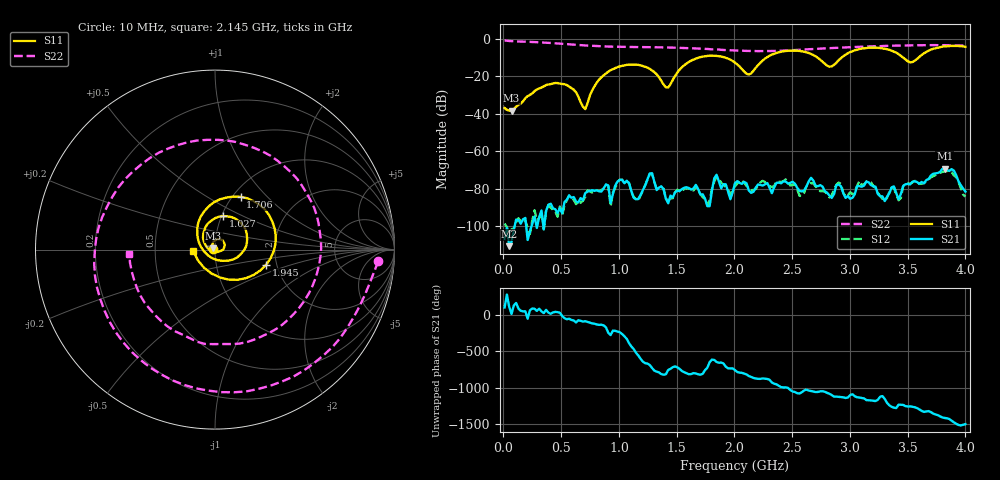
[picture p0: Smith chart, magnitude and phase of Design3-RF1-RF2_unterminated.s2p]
! 9/28/2016 12:32:43 PM
! C:\USERS\ANRITSUUSER\DESKTOP\SWITCHES\DESIGN3-RF1-RF2_UNTERMINATED.S2P
! CHANNEL.1
! TR.MEASUREMENT
! CORRECTED.DATA
# GHZ S RI R 50.0
! FREQ.GHZ  S11RE  S11IM  S21RE  S21IM  S12RE  S12IM  S22RE  S22IM
!; PortSelection: Port_12
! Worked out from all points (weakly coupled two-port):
!   201 points, 10 MHz to 4 GHz, reference 50 ohm
!   highest |S21| = -69.18 dB at 3.82 GHz (marker M1); lowest = -110.6 dB at 49.9 MHz (marker M2)
!   lowest |S11| = -38.3 dB at 69.85 MHz (marker M3), VSWR 1.02, Z = 49 + j0.686 ohm
!   |S11| at or under -10 dB: start of sweep to 1.69 GHz; 1.921 GHz to 2.277 GHz (355.6 MHz wide, 16.9 % of centre); 2.72 GHz to 2.927 GHz (207 MHz wide, 7.33 % of centre)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
!   |S22| runs from -6.5 to -0.8 dB; largest |S21 - S12| = 7.9e-05
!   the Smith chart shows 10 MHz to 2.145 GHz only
!   S11 on the Smith chart (normalised r, x): 10 MHz: 0.97, +0.01; 1.027 GHz: 1.02, +0.39; 1.706 GHz: 1.09, +0.72; 1.945 GHz: 1.76, -0.32; 2.145 GHz: 0.79, -0.02
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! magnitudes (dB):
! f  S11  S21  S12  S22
! 10 MHz  -36.9  -106.8  -98.6  -0.8
! 49.9 MHz  -38.3  -110.6  -104.1  -1.1
! 69.85 MHz  -38.3  -108.2  -101.6  -1.2
! 448.9 MHz  -23.5  -90.9  -92.2  -2.3
! 688.3 MHz  -36.1  -86.1  -86.4  -3.4
! 1.027 GHz  -14.4  -75.3  -75.0  -4.3
! 1.207 GHz  -14.5  -80.7  -81.0  -4.4
! 1.287 GHz  -16.8  -71.7  -72.2  -4.4
! 1.347 GHz  -20.4  -79.4  -80.0  -4.5
! 1.426 GHz  -26.0  -87.7  -86.3  -4.6
! 1.706 GHz  -9.7  -83.1  -82.8  -5.2
! 1.845 GHz  -9.1  -72.5  -73.6  -5.5
! 1.945 GHz  -10.5  -81.5  -80.6  -6.0
! 2.005 GHz  -12.6  -77.0  -78.7  -6.2
! 2.145 GHz  -18.4  -82.2  -81.0  -6.4
! 2.364 GHz  -7.5  -76.9  -76.1  -6.4
! 2.683 GHz  -8.6  -75.6  -77.2  -5.4
! 2.823 GHz  -14.8  -83.6  -84.6  -4.9
! 3.342 GHz  -5.8  -82.4  -81.7  -3.7
! 3.521 GHz  -12.5  -77.6  -77.5  -3.4
! 3.82 GHz  -4.0  -69.2  -70.6  -3.3
! 4 GHz  -4.2  -81.5  -84.2  -3.6
